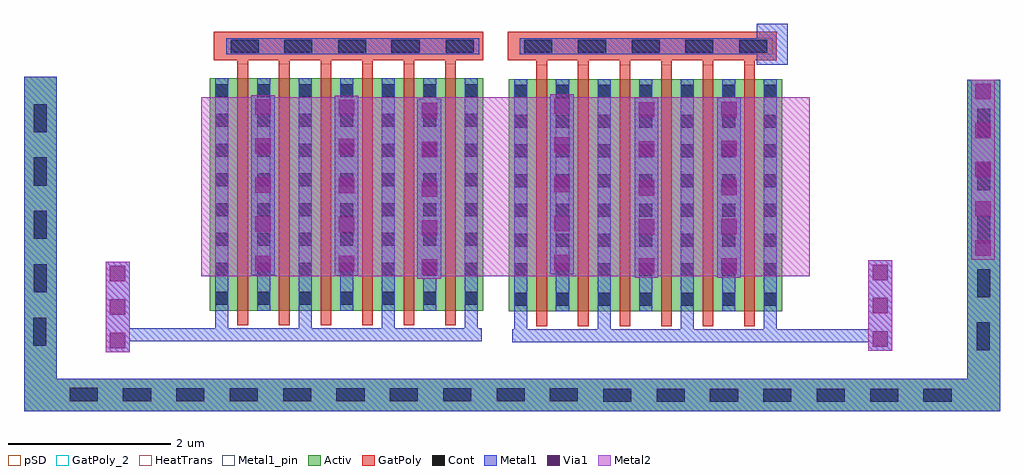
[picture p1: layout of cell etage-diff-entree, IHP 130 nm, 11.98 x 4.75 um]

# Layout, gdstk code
import gdstk
lib = gdstk.Library(unit=1e-6, precision=1e-09)
def R(c, l, rs):  # rectangles x0, y0, x1, y1
    for r in rs: c.add(gdstk.rectangle(r[:2], r[2:], *l))
def A(c, l, x, y, w, h, nx, ny, dx, dy):  # array of equal rectangles
    R(c, l, [(x+i*dx, y+j*dy, x+i*dx+w, y+j*dy+h) for i in range(nx) for j in range(ny)])
Activ = (1, 0)
GatPoly = (5, 0)
GatPoly_2 = (5, 2)
Cont = (6, 0)
Metal1 = (8, 0)
Metal1_pin = (8, 2)
Metal2 = (10, 0)
pSD = (14, 0)
Via1 = (19, 0)
HeatTrans = (51, 0)

via_stack = lib.new_cell('via_stack')
R(via_stack, Metal1, [(-0.145,-1.105,0.145,1.105)])
R(via_stack, Metal2, [(-0.145,-1.105,0.145,1.105)])
A(via_stack, Via1, -0.095, -1.055, 0.19, 0.19, 1, 5, 0, 0.48)

nmos_1 = lib.new_cell('nmos$1')
A(nmos_1, Activ, 0, 0, 0.3, 0.3, 7, 1, 0.51, 0)
R(nmos_1, Activ, [(0,0,3.36,2.85)])
A(nmos_1, GatPoly, 0.34, -0.18, 0.13, 3.21, 6, 1, 0.51, 0)
R(nmos_1, GatPoly_2, [(0.34,-0.18,0.47,3.03)])
A(nmos_1, Cont, 0.07, 0.07, 0.16, 0.16, 7, 2, 0.51, 0.36)
A(nmos_1, Cont, 0.07, 0.795, 0.16, 0.16, 7, 6, 0.51, 0.365)
A(nmos_1, Metal1, 0.07, 0, 0.16, 2.85, 7, 1, 0.51, 0)
R(nmos_1, Metal1_pin, [(0.07,0,0.23,2.85), (0.58,0,0.74,2.85)])
A(nmos_1, HeatTrans, 0.34, -0.18, 0.13, 3.21, 6, 1, 0.51, 0)
nmos_1.add(gdstk.Label('nmos', (0.405,1.425), layer=63, texttype=0))
nmos_1.add(gdstk.Label('nmos', (0.405,1.425), layer=51, texttype=0))
nmos_1.add(gdstk.Label('nmos', (0.915,1.425), layer=51, texttype=0))
nmos_1.add(gdstk.Label('nmos', (1.425,1.425), layer=51, texttype=0))
nmos_1.add(gdstk.Label('nmos', (1.935,1.425), layer=51, texttype=0))
nmos_1.add(gdstk.Label('nmos', (2.445,1.425), layer=51, texttype=0))
nmos_1.add(gdstk.Label('nmos', (2.955,1.425), layer=51, texttype=0))

via_stack_1 = lib.new_cell('via_stack$1')
R(via_stack_1, Metal1, [(-0.145,-0.555,0.145,0.555)])
R(via_stack_1, Metal2, [(-0.145,-0.555,0.145,0.555)])
A(via_stack_1, Via1, -0.095, -0.505, 0.19, 0.19, 1, 3, 0, 0.41)

etage_diff_entree = lib.new_cell('etage-diff-entree')
R(etage_diff_entree, Metal2, [(-3.815,-0.722,3.655,1.478)])
etage_diff_entree.add(gdstk.FlexPath([(3.385,2.128),(3.005,2.128)], 0.5, ends="flush", simple_path=True, layer=8, datatype=0))  # Metal1
etage_diff_entree.add(gdstk.FlexPath([(-5.59,-2.177),(5.59,-2.177)], 0.4, ends="flush", simple_path=True, layer=8, datatype=0))  # Metal1
etage_diff_entree.add(gdstk.FlexPath([(5.79,-2.377),(5.79,1.693)], 0.4, ends="flush", simple_path=True, layer=8, datatype=0))  # Metal1
etage_diff_entree.add(gdstk.FlexPath([(-5.79,1.728),(-5.79,-2.377)], 0.4, ends="flush", simple_path=True, layer=8, datatype=0))  # Metal1
etage_diff_entree.add(gdstk.FlexPath([(3.2,2.103),(0.095,2.103)], 0.2, ends="flush", simple_path=True, layer=8, datatype=0))  # Metal1
etage_diff_entree.add(gdstk.FlexPath([(-0.405,2.103),(-3.51,2.103)], 0.2, ends="flush", simple_path=True, layer=8, datatype=0))  # Metal1
etage_diff_entree.add(gdstk.FlexPath([(-3.805,-1.437),(-0.37,-1.437)], 0.16, ends="flush", simple_path=True, layer=8, datatype=0))  # Metal1
etage_diff_entree.add(gdstk.FlexPath([(0,-1.452),(3.505,-1.452)], 0.16, ends="flush", simple_path=True, layer=8, datatype=0))  # Metal1
etage_diff_entree.add(gdstk.FlexPath([(0,-1.452),(3.505,-1.452)], 0.16, ends="flush", simple_path=True, layer=8, datatype=0))  # Metal1
etage_diff_entree.add(gdstk.FlexPath([(-3.805,-1.437),(-0.37,-1.437)], 0.16, ends="flush", simple_path=True, layer=8, datatype=0))  # Metal1
etage_diff_entree.add(gdstk.FlexPath([(-3.56,-1.357),(-3.56,-1.112)], 0.16, ends="flush", simple_path=True, layer=8, datatype=0))  # Metal1
etage_diff_entree.add(gdstk.FlexPath([(-2.54,-1.357),(-2.54,-1.127)], 0.16, ends="flush", simple_path=True, layer=8, datatype=0))  # Metal1
etage_diff_entree.add(gdstk.FlexPath([(-1.52,-1.357),(-1.52,-1.102)], 0.16, ends="flush", simple_path=True, layer=8, datatype=0))  # Metal1
etage_diff_entree.add(gdstk.FlexPath([(-0.5,-1.362),(-0.5,-1.097)], 0.16, ends="flush", simple_path=True, layer=8, datatype=0))  # Metal1
etage_diff_entree.add(gdstk.FlexPath([(0.11,-1.387),(0.11,-1.122)], 0.16, ends="flush", simple_path=True, layer=8, datatype=0))  # Metal1
etage_diff_entree.add(gdstk.FlexPath([(1.13,-1.377),(1.13,-1.117)], 0.16, ends="flush", simple_path=True, layer=8, datatype=0))  # Metal1
etage_diff_entree.add(gdstk.FlexPath([(2.15,-1.377),(2.15,-1.127)], 0.16, ends="flush", simple_path=True, layer=8, datatype=0))  # Metal1
etage_diff_entree.add(gdstk.FlexPath([(3.17,-1.377),(3.17,-1.142)], 0.16, ends="flush", simple_path=True, layer=8, datatype=0))  # Metal1
etage_diff_entree.add(gdstk.FlexPath([(-3.805,-1.437),(-4.845,-1.437)], 0.16, ends="flush", simple_path=True, layer=8, datatype=0))  # Metal1
etage_diff_entree.add(gdstk.FlexPath([(3.505,-1.452),(4.475,-1.452)], 0.16, ends="flush", simple_path=True, layer=8, datatype=0))  # Metal1
etage_diff_entree.add(gdstk.FlexPath([(4.52,-0.922),(4.52,-1.532)], 0.2, ends="flush", simple_path=True, layer=10, datatype=0))  # Metal2
etage_diff_entree.add(gdstk.FlexPath([(3.2,2.103),(0.095,2.103)], 0.2, ends="flush", simple_path=True, layer=8, datatype=2))  # Metal1_pin
etage_diff_entree.add(gdstk.FlexPath([(-0.405,2.103),(-3.51,2.103)], 0.2, ends="flush", simple_path=True, layer=8, datatype=2))  # Metal1_pin
etage_diff_entree.add(gdstk.FlexPath([(-5.59,-2.177),(5.59,-2.177)], 0.4, ends="flush", simple_path=True, layer=1, datatype=0))  # Activ
etage_diff_entree.add(gdstk.FlexPath([(5.79,-2.377),(5.79,1.693)], 0.4, ends="flush", simple_path=True, layer=1, datatype=0))  # Activ
etage_diff_entree.add(gdstk.FlexPath([(-5.79,-2.377),(-5.79,1.728)], 0.4, ends="flush", simple_path=True, layer=1, datatype=0))  # Activ
etage_diff_entree.add(gdstk.FlexPath([(-3.66,2.103),(-0.355,2.103)], 0.35, ends="flush", simple_path=True, layer=5, datatype=0))  # GatPoly
etage_diff_entree.add(gdstk.FlexPath([(-0.055,2.103),(3.25,2.103)], 0.35, ends="flush", simple_path=True, layer=5, datatype=0))  # GatPoly
etage_diff_entree.add(gdstk.FlexPath([(-3.305,1.888),(-3.305,1.948),(-3.305,1.948)], 0.13, ends="flush", simple_path=True, layer=5, datatype=0))  # GatPoly
etage_diff_entree.add(gdstk.FlexPath([(-2.795,1.888),(-2.795,1.953)], 0.13, ends="flush", simple_path=True, layer=5, datatype=0))  # GatPoly
etage_diff_entree.add(gdstk.FlexPath([(-2.285,1.888),(-2.285,1.958)], 0.13, ends="flush", simple_path=True, layer=5, datatype=0))  # GatPoly
etage_diff_entree.add(gdstk.FlexPath([(-1.775,1.888),(-1.775,1.958)], 0.13, ends="flush", simple_path=True, layer=5, datatype=0))  # GatPoly
etage_diff_entree.add(gdstk.FlexPath([(-1.265,1.888),(-1.265,1.958)], 0.13, ends="flush", simple_path=True, layer=5, datatype=0))  # GatPoly
etage_diff_entree.add(gdstk.FlexPath([(-0.755,1.888),(-0.755,1.963)], 0.13, ends="flush", simple_path=True, layer=5, datatype=0))  # GatPoly
etage_diff_entree.add(gdstk.FlexPath([(0.365,1.878),(0.365,1.963)], 0.13, ends="flush", simple_path=True, layer=5, datatype=0))  # GatPoly
etage_diff_entree.add(gdstk.FlexPath([(0.875,1.878),(0.875,1.968)], 0.13, ends="flush", simple_path=True, layer=5, datatype=0))  # GatPoly
etage_diff_entree.add(gdstk.FlexPath([(1.385,1.878),(1.385,1.968)], 0.13, ends="flush", simple_path=True, layer=5, datatype=0))  # GatPoly
etage_diff_entree.add(gdstk.FlexPath([(1.895,1.878),(1.895,1.973)], 0.13, ends="flush", simple_path=True, layer=5, datatype=0))  # GatPoly
etage_diff_entree.add(gdstk.FlexPath([(2.405,1.878),(2.405,1.963)], 0.13, ends="flush", simple_path=True, layer=5, datatype=0))  # GatPoly
etage_diff_entree.add(gdstk.FlexPath([(2.915,1.878),(2.915,1.963)], 0.13, ends="flush", simple_path=True, layer=5, datatype=0))  # GatPoly
etage_diff_entree.add(gdstk.FlexPath([(-1.265,1.888),(-1.265,1.958)], 0.13, ends="flush", simple_path=True, layer=5, datatype=0))  # GatPoly
etage_diff_entree.add(gdstk.FlexPath([(-3.305,1.888),(-3.305,1.948),(-3.305,1.948)], 0.13, ends="flush", simple_path=True, layer=5, datatype=0))  # GatPoly
etage_diff_entree.add(gdstk.FlexPath([(-2.795,1.888),(-2.795,1.953)], 0.13, ends="flush", simple_path=True, layer=5, datatype=0))  # GatPoly
etage_diff_entree.add(gdstk.FlexPath([(-2.285,1.888),(-2.285,1.958)], 0.13, ends="flush", simple_path=True, layer=5, datatype=0))  # GatPoly
etage_diff_entree.add(gdstk.FlexPath([(-1.775,1.888),(-1.775,1.958)], 0.13, ends="flush", simple_path=True, layer=5, datatype=0))  # GatPoly
etage_diff_entree.add(gdstk.FlexPath([(-0.755,1.888),(-0.755,1.963)], 0.13, ends="flush", simple_path=True, layer=5, datatype=0))  # GatPoly
etage_diff_entree.add(gdstk.FlexPath([(0.365,1.878),(0.365,1.963)], 0.13, ends="flush", simple_path=True, layer=5, datatype=0))  # GatPoly
etage_diff_entree.add(gdstk.FlexPath([(0.875,1.878),(0.875,1.968)], 0.13, ends="flush", simple_path=True, layer=5, datatype=0))  # GatPoly
etage_diff_entree.add(gdstk.FlexPath([(1.385,1.878),(1.385,1.968)], 0.13, ends="flush", simple_path=True, layer=5, datatype=0))  # GatPoly
etage_diff_entree.add(gdstk.FlexPath([(1.895,1.878),(1.895,1.973)], 0.13, ends="flush", simple_path=True, layer=5, datatype=0))  # GatPoly
etage_diff_entree.add(gdstk.FlexPath([(2.405,1.878),(2.405,1.963)], 0.13, ends="flush", simple_path=True, layer=5, datatype=0))  # GatPoly
etage_diff_entree.add(gdstk.FlexPath([(2.915,1.878),(2.915,1.963)], 0.13, ends="flush", simple_path=True, layer=5, datatype=0))  # GatPoly
etage_diff_entree.add(gdstk.FlexPath([(3.135,2.103),(2.79,2.103)], 0.16, ends="flush", simple_path=True, layer=6, datatype=0))  # Cont
etage_diff_entree.add(gdstk.FlexPath([(2.47,2.103),(2.125,2.103)], 0.16, ends="flush", simple_path=True, layer=6, datatype=0))  # Cont
etage_diff_entree.add(gdstk.FlexPath([(1.815,2.103),(1.47,2.103)], 0.16, ends="flush", simple_path=True, layer=6, datatype=0))  # Cont
etage_diff_entree.add(gdstk.FlexPath([(1.155,2.103),(0.81,2.103)], 0.16, ends="flush", simple_path=True, layer=6, datatype=0))  # Cont
etage_diff_entree.add(gdstk.FlexPath([(0.495,2.103),(0.15,2.103)], 0.16, ends="flush", simple_path=True, layer=6, datatype=0))  # Cont
etage_diff_entree.add(gdstk.FlexPath([(5.79,1.333),(5.79,0.988)], 0.16, ends="flush", simple_path=True, layer=6, datatype=0))  # Cont
etage_diff_entree.add(gdstk.FlexPath([(5.79,0.678),(5.79,0.333)], 0.16, ends="flush", simple_path=True, layer=6, datatype=0))  # Cont
etage_diff_entree.add(gdstk.FlexPath([(5.79,0.023),(5.79,-0.322)], 0.16, ends="flush", simple_path=True, layer=6, datatype=0))  # Cont
etage_diff_entree.add(gdstk.FlexPath([(5.79,-0.632),(5.79,-0.977)], 0.16, ends="flush", simple_path=True, layer=6, datatype=0))  # Cont
etage_diff_entree.add(gdstk.FlexPath([(5.785,-1.287),(5.785,-1.632)], 0.16, ends="flush", simple_path=True, layer=6, datatype=0))  # Cont
etage_diff_entree.add(gdstk.FlexPath([(0.81,-2.177),(0.465,-2.177)], 0.16, ends="flush", simple_path=True, layer=6, datatype=0))  # Cont
etage_diff_entree.add(gdstk.FlexPath([(1.465,-2.182),(1.12,-2.182)], 0.16, ends="flush", simple_path=True, layer=6, datatype=0))  # Cont
etage_diff_entree.add(gdstk.FlexPath([(5.395,-2.182),(5.05,-2.182)], 0.16, ends="flush", simple_path=True, layer=6, datatype=0))  # Cont
etage_diff_entree.add(gdstk.FlexPath([(4.74,-2.182),(4.395,-2.182)], 0.16, ends="flush", simple_path=True, layer=6, datatype=0))  # Cont
etage_diff_entree.add(gdstk.FlexPath([(2.12,-2.182),(1.775,-2.182)], 0.16, ends="flush", simple_path=True, layer=6, datatype=0))  # Cont
etage_diff_entree.add(gdstk.FlexPath([(2.775,-2.182),(2.43,-2.182)], 0.16, ends="flush", simple_path=True, layer=6, datatype=0))  # Cont
etage_diff_entree.add(gdstk.FlexPath([(3.43,-2.182),(3.085,-2.182)], 0.16, ends="flush", simple_path=True, layer=6, datatype=0))  # Cont
etage_diff_entree.add(gdstk.FlexPath([(4.085,-2.182),(3.74,-2.182)], 0.16, ends="flush", simple_path=True, layer=6, datatype=0))  # Cont
etage_diff_entree.add(gdstk.FlexPath([(0.155,-2.177),(-0.19,-2.177)], 0.16, ends="flush", simple_path=True, layer=6, datatype=0))  # Cont
etage_diff_entree.add(gdstk.FlexPath([(-1.81,-2.177),(-2.155,-2.177)], 0.16, ends="flush", simple_path=True, layer=6, datatype=0))  # Cont
etage_diff_entree.add(gdstk.FlexPath([(-2.465,-2.177),(-2.81,-2.177)], 0.16, ends="flush", simple_path=True, layer=6, datatype=0))  # Cont
etage_diff_entree.add(gdstk.FlexPath([(-3.12,-2.177),(-3.465,-2.177)], 0.16, ends="flush", simple_path=True, layer=6, datatype=0))  # Cont
etage_diff_entree.add(gdstk.FlexPath([(-3.775,-2.177),(-4.12,-2.177)], 0.16, ends="flush", simple_path=True, layer=6, datatype=0))  # Cont
etage_diff_entree.add(gdstk.FlexPath([(-4.43,-2.177),(-4.775,-2.177)], 0.16, ends="flush", simple_path=True, layer=6, datatype=0))  # Cont
etage_diff_entree.add(gdstk.FlexPath([(-5.085,-2.172),(-5.43,-2.172)], 0.16, ends="flush", simple_path=True, layer=6, datatype=0))  # Cont
etage_diff_entree.add(gdstk.FlexPath([(-1.155,-2.177),(-1.5,-2.177)], 0.16, ends="flush", simple_path=True, layer=6, datatype=0))  # Cont
etage_diff_entree.add(gdstk.FlexPath([(-0.5,-2.177),(-0.845,-2.177)], 0.16, ends="flush", simple_path=True, layer=6, datatype=0))  # Cont
etage_diff_entree.add(gdstk.FlexPath([(-5.79,1.393),(-5.79,1.048)], 0.16, ends="flush", simple_path=True, layer=6, datatype=0))  # Cont
etage_diff_entree.add(gdstk.FlexPath([(-5.79,0.738),(-5.79,0.393)], 0.16, ends="flush", simple_path=True, layer=6, datatype=0))  # Cont
etage_diff_entree.add(gdstk.FlexPath([(-5.79,0.083),(-5.79,-0.262)], 0.16, ends="flush", simple_path=True, layer=6, datatype=0))  # Cont
etage_diff_entree.add(gdstk.FlexPath([(-5.79,-0.572),(-5.79,-0.917)], 0.16, ends="flush", simple_path=True, layer=6, datatype=0))  # Cont
etage_diff_entree.add(gdstk.FlexPath([(-5.795,-1.227),(-5.795,-1.572)], 0.16, ends="flush", simple_path=True, layer=6, datatype=0))  # Cont
etage_diff_entree.add(gdstk.FlexPath([(-0.47,2.103),(-0.815,2.103)], 0.16, ends="flush", simple_path=True, layer=6, datatype=0))  # Cont
etage_diff_entree.add(gdstk.FlexPath([(-1.135,2.103),(-1.48,2.103)], 0.16, ends="flush", simple_path=True, layer=6, datatype=0))  # Cont
etage_diff_entree.add(gdstk.FlexPath([(-1.79,2.103),(-2.135,2.103)], 0.16, ends="flush", simple_path=True, layer=6, datatype=0))  # Cont
etage_diff_entree.add(gdstk.FlexPath([(-2.45,2.103),(-2.795,2.103)], 0.16, ends="flush", simple_path=True, layer=6, datatype=0))  # Cont
etage_diff_entree.add(gdstk.FlexPath([(-3.11,2.103),(-3.455,2.103)], 0.16, ends="flush", simple_path=True, layer=6, datatype=0))  # Cont
etage_diff_entree.add(gdstk.FlexPath([(-5.59,-2.177),(5.59,-2.177),(5.59,-2.177),(5.59,-2.177),(5.59,-2.177)], 0.4, ends="flush", simple_path=True, layer=14, datatype=0))  # pSD
etage_diff_entree.add(gdstk.FlexPath([(5.79,1.693),(5.79,-2.377)], 0.4, ends="flush", simple_path=True, layer=14, datatype=0))  # pSD
etage_diff_entree.add(gdstk.FlexPath([(-5.79,1.728),(-5.79,-2.377)], 0.4, ends="flush", simple_path=True, layer=14, datatype=0))  # pSD
r = gdstk.Reference(via_stack, (0.615,0.408)); r.repetition = gdstk.Repetition(1, 1, v1=(0,0), v2=(0,0)); etage_diff_entree.add(r)
etage_diff_entree.add(gdstk.Reference(nmos_1, (-0.04,-1.152)))
etage_diff_entree.add(gdstk.Reference(nmos_1, (-3.71,-1.142)))
r = gdstk.Reference(via_stack_1, (-4.84,-1.097)); r.repetition = gdstk.Repetition(1, 1, v1=(0,0), v2=(0,0)); etage_diff_entree.add(r)
r = gdstk.Reference(via_stack_1, (4.52,-1.082)); r.repetition = gdstk.Repetition(1, 1, v1=(0,0), v2=(0,0)); etage_diff_entree.add(r)
r = gdstk.Reference(via_stack, (2.665,0.368)); r.repetition = gdstk.Repetition(1, 1, v1=(0,0), v2=(0,0)); etage_diff_entree.add(r)
r = gdstk.Reference(via_stack, (1.65,0.363)); r.repetition = gdstk.Repetition(1, 1, v1=(0,0), v2=(0,0)); etage_diff_entree.add(r)
r = gdstk.Reference(via_stack, (-1.015,0.353)); r.repetition = gdstk.Repetition(1, 1, v1=(0,0), v2=(0,0)); etage_diff_entree.add(r)
r = gdstk.Reference(via_stack, (-2.03,0.393)); r.repetition = gdstk.Repetition(1, 1, v1=(0,0), v2=(0,0)); etage_diff_entree.add(r)
r = gdstk.Reference(via_stack, (-3.055,0.398)); r.repetition = gdstk.Repetition(1, 1, v1=(0,0), v2=(0,0)); etage_diff_entree.add(r)
r = gdstk.Reference(via_stack, (5.78,0.588)); r.repetition = gdstk.Repetition(1, 1, v1=(0,0), v2=(0,0)); etage_diff_entree.add(r)

lib.write_gds('etage-diff-entree.gds')
